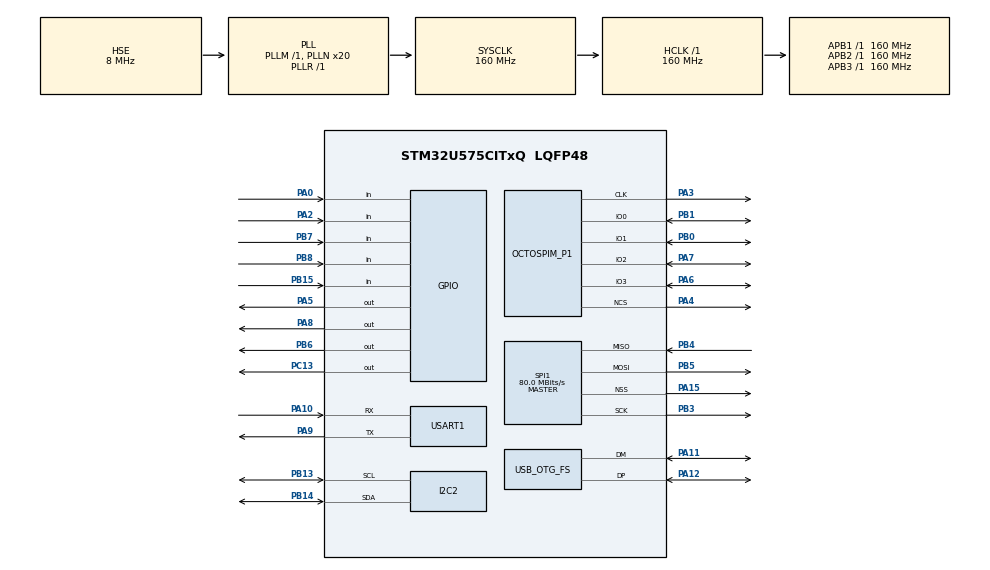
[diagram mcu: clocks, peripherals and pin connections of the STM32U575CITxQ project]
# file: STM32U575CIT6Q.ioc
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CORTEX_M33_NS.userName=CORTEX_M33
I2C2.Timing=0x30909DEC
Mcu.Family=STM32U5
Mcu.Name=STM32U575CITxQ
Mcu.Package=LQFP48
NVIC.OTG_FS_IRQn=true\:0\:0\:false\:false\:true\:true\:true\:true
NVIC.PriorityGroup=NVIC_PRIORITYGROUP_4
PA0.Signal=GPIO_Input
PA1.Signal=OCTOSPIM_P1_DQS
PA10.Mode=Asynchronous
PA10.Signal=USART1_RX
PA11.Mode=Device_Only
PA11.Signal=USB_OTG_FS_DM
PA12.Mode=Device_Only
PA12.Signal=USB_OTG_FS_DP
PA13\ (JTMS/SWDIO).Mode=Serial_Wire
PA13\ (JTMS/SWDIO).Signal=DEBUG_JTMS-SWDIO
PA14\ (JTCK/SWCLK).Mode=Serial_Wire
PA14\ (JTCK/SWCLK).Signal=DEBUG_JTCK-SWCLK
PA15\ (JTDI).Mode=NSS_Signal_Hard_Output
PA15\ (JTDI).Signal=SPI1_NSS
PA2.Signal=GPIO_Input
PA3.Mode=O1_P1_CLK
PA3.Signal=OCTOSPIM_P1_CLK
PA4.Mode=OCTOSPI1_Port1_NCS
PA4.Signal=OCTOSPIM_P1_NCS
PA5.Signal=GPIO_Output
PA6.Mode=OCTOSPI1_IOL_Port1L
PA6.Signal=OCTOSPIM_P1_IO3
PA7.Mode=OCTOSPI1_IOL_Port1L
PA7.Signal=OCTOSPIM_P1_IO2
PA8.Signal=GPIO_Output
PA9.Mode=Asynchronous
PA9.Signal=USART1_TX
PB0.Mode=OCTOSPI1_IOL_Port1L
PB0.Signal=OCTOSPIM_P1_IO1
PB1.Mode=OCTOSPI1_IOL_Port1L
PB1.Signal=OCTOSPIM_P1_IO0
PB13.Mode=I2C
PB13.Signal=I2C2_SCL
PB14.Mode=I2C
PB14.Signal=I2C2_SDA
PB15.Signal=GPIO_Input
PB3\ (JTDO/TRACESWO).Mode=Full_Duplex_Master
PB3\ (JTDO/TRACESWO).Signal=SPI1_SCK
PB4\ (NJTRST).Mode=Full_Duplex_Master
PB4\ (NJTRST).Signal=SPI1_MISO
PB5.Mode=Full_Duplex_Master
PB5.Signal=SPI1_MOSI
PB6.Signal=GPIO_Output
PB7.Signal=GPIO_Input
PB8.Signal=GPIO_Input
PC13.Signal=GPIO_Output
PH0-OSC_IN\ (PH0).Mode=HSE-External-Clock-Source
PH0-OSC_IN\ (PH0).Signal=RCC_OSC_IN
ProjectManager.HeapSize=0x200
ProjectManager.StackSize=0x400
ProjectManager.TargetToolchain=STM32CubeIDE
RCC.ADCFreq_Value=16000000
RCC.AHBFreq_Value=160000000
RCC.APB1Freq_Value=160000000
RCC.APB1TimFreq_Value=160000000
RCC.APB2Freq_Value=160000000
RCC.APB2TimFreq_Value=160000000
RCC.APB3Freq_Value=160000000
RCC.CK48CLockSelection=RCC_CLK48CLKSOURCE_PLL2
RCC.CortexFreq_Value=160000000
RCC.EPOD_VALUE=8000000
RCC.HCLKFreq_Value=160000000
RCC.HSE_VALUE=8000000
RCC.HSI48_VALUE=48000000
RCC.HSI_VALUE=16000000
RCC.LSE_VALUE=32768
RCC.LSIDIV_VALUE=32000
RCC.MSI_VALUE=4000000
RCC.PLL1R=1
RCC.PLL2FRACN=0
RCC.PLL2N=18
RCC.PLL2Q=3
RCC.PLL2Source=RCC_PLLSOURCE_HSE
RCC.PLLFRACN=0
RCC.PLLN=20
RCC.PLLSourceVirtual=RCC_PLLSOURCE_HSE
RCC.SYSCLKFreq_VALUE=160000000
RCC.SYSCLKSource=RCC_SYSCLKSOURCE_PLLCLK
RCC.USBFreq_Value=48000000
RCC.VCOOutputFreq_Value=160000000
SPI1.CalculateBaudRate=80.0 MBits/s
SPI1.Direction=SPI_DIRECTION_2LINES
SPI1.Mode=SPI_MODE_MASTER
SPI1.VirtualNSS=VM_NSSHARD
SPI1.VirtualType=VM_MASTER
USART1.VirtualMode-Asynchronous=VM_ASYNC
USB_OTG_FS.VirtualMode=Device_Only
VP_DCACHE1_VS_DCACHE.Mode=DCACHE_Activate
VP_ICACHE_VS_ICACHE.Mode=DirectMappedCache
VP_LPBAMQUEUE_VS_QUEUE.Mode=QUEUEMODE
VP_LPBAM_VS_SIG1.Mode=SmartRun
VP_LPBAM_VS_SIG4.Mode=LPDMA1
VP_MEMORYMAP_VS_MEMORYMAP.Mode=CurAppReg
VP_OCTOSPI1_VS_quad.Mode=quad_mode
VP_PWR_VS_SECSignals.Mode=Security/Privilege
board=custom

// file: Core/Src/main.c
/* USER CODE BEGIN Header */
/**
  ******************************************************************************
  * @file           : main.c
  * @brief          : Main program body
  ******************************************************************************
  * @attention
  *
  * Copyright (c) 2023 STMicroelectronics.
  * All rights reserved.
  *
  * This software is licensed under terms that can be found in the LICENSE file
  * in the root directory of this software component.
  * If no LICENSE file comes with this software, it is provided AS-IS.
  *
  ******************************************************************************
  */
/* USER CODE END Header */
#include "main.h"

#include "usbd_core.h"
#include "usbd_cdc_if.h"
#include "usbd_desc_cdc.h"

#include "VCP_UART.h"
#include "SYS_Config.h"
#include "MEM_Pool.h"

/* USER CODE BEGIN PD */
#define APP_RX_DATA_SIZE   2048
#define APP_TX_DATA_SIZE   2048

uint8_t UserRxBufferFS[APP_RX_DATA_SIZE];
uint8_t UserTxBufferFS[APP_TX_DATA_SIZE];

uint32_t UserTxBufPtrIn;
uint32_t UserTxBufPtrOut;

volatile int UARTRxAvailable = 0;

/* USER CODE END PD */

DCACHE_HandleTypeDef hdcache1;

I2C_HandleTypeDef hi2c2;

OSPI_HandleTypeDef hospi1;

SPI_HandleTypeDef hspi1;

UART_HandleTypeDef huart1;

extern PCD_HandleTypeDef  hpcd;
USBD_HandleTypeDef USBD_Device;

void SystemClock_Config(void);
static void MX_GPIO_Init(void);
static void MX_I2C2_Init(void);
void MX_OCTOSPI1_Init(void);
static void MX_SPI1_Init(void);
static void MX_USART1_UART_Init(void);
static void MX_DCACHE1_Init(void);
static void MX_ICACHE_Init(void);

/* USER CODE BEGIN 0 */
unsigned char UARTrxBuf[UART_RX_BUFFER_SIZE];

/* USER CODE END 0 */

int main(void)
{
  /* USER CODE BEGIN 1 */
#if 0
  uint32_t tick, lastTick;
  int state = 0;
  GPIO_InitTypeDef GPIO_InitStruct = {0};
#endif

  int l;

  /* USER CODE END 1 */

  /* MCU Configuration--------------------------------------------------------*/

  /* Reset of all peripherals, Initializes the Flash interface and the Systick. */
  HAL_Init();

  /* Configure the system clock */
  SystemClock_Config();

  /* USER CODE BEGIN SysInit */
  CFG_Read();
  /* USER CODE END SysInit */

  /* Initialize all configured peripherals */
  MX_GPIO_Init();
  MX_I2C2_Init();
  MX_OCTOSPI1_Init();
  MX_SPI1_Init();
#if 1
  /* XXXX: why is it necessary to get UART VCP working??? */
  MX_USART1_UART_Init();
#endif
  MX_DCACHE1_Init();
  MX_ICACHE_Init();
  /* USER CODE BEGIN 2 */
  MEM_PoolInit();
  HAL_PWREx_ControlVoltageScaling(PWR_REGULATOR_VOLTAGE_SCALE1);
#if 1
  HAL_PWREx_EnableVddIO2();
  if (HAL_PWREx_ConfigSupply(PWR_SMPS_SUPPLY) != HAL_OK)
  {
    Error_Handler();
  }
#endif
  /* USER CODE END 2 */

  /* Infinite loop */
  /* USER CODE BEGIN WHILE */
  /* Start reception: provide the buffer pointer with offset and the buffer size */
#if 0
  NVIC_SetPriority(USART1_IRQn, NVIC_EncodePriority(NVIC_GetPriorityGrouping(),5, 0));
  NVIC_EnableIRQ(USART1_IRQn);
  HAL_UART_Receive_IT(&huart1, (uint8_t *)(UserTxBufferFS + UserTxBufPtrIn), 1);
#endif

  /* initialize USB VCP for UART */
  USBD_Init(&USBD_Device, &CDC_Desc, 0);
  USBD_RegisterClass(&USBD_Device, USBD_CDC_CLASS);
  USBD_CDC_RegisterInterface(&USBD_Device, &USBD_CDC_fops);
  USBD_Start(&USBD_Device);

#if 0
  tick = HAL_GetTick();
  lastTick = tick;
#endif

  HAL_GPIO_TogglePin(GPIOC, GPIO_PIN_13);
  /* we cannot send here - we need at least one character received */
  while (1)
  {
    /* USER CODE END WHILE */

    /* USER CODE BEGIN 3 */
#if 1
	l = UART_getString(UARTrxBuf, sizeof(UARTrxBuf)  -1);
	if (l)
#endif
	{
		HAL_GPIO_TogglePin(GPIOC, GPIO_PIN_13);
#if 1
		CMD_DEC_execute((char *)UARTrxBuf, VCP_OUT);
		////UART_Send(UARTrxBuf, l, UART_OUT);
		UART_Send((unsigned char *)"> ", 2, VCP_OUT);
#else
		HAL_Delay(500);
#endif
	}
  }
  /* USER CODE END 3 */
}

#define U575
#ifdef U575
void SystemClock_Config(void)
{
  RCC_OscInitTypeDef RCC_OscInitStruct = {0};
  RCC_ClkInitTypeDef RCC_ClkInitStruct = {0};

  /** Configure the main internal regulator output voltage
  */
  if (HAL_PWREx_ControlVoltageScaling(PWR_REGULATOR_VOLTAGE_SCALE1) != HAL_OK)
  {
    Error_Handler();
  }

  /** Initializes the CPU, AHB and APB buses clocks
  */
  RCC_OscInitStruct.OscillatorType = RCC_OSCILLATORTYPE_HSE;
  RCC_OscInitStruct.HSEState = RCC_HSE_BYPASS;
  RCC_OscInitStruct.PLL.PLLState = RCC_PLL_ON;
  RCC_OscInitStruct.PLL.PLLSource = RCC_PLLSOURCE_HSE;
  RCC_OscInitStruct.PLL.PLLMBOOST = RCC_PLLMBOOST_DIV1;
  RCC_OscInitStruct.PLL.PLLM = 1;
  RCC_OscInitStruct.PLL.PLLN = 20;
  RCC_OscInitStruct.PLL.PLLP = 2;
  RCC_OscInitStruct.PLL.PLLQ = 2;
  RCC_OscInitStruct.PLL.PLLR = 1;
  RCC_OscInitStruct.PLL.PLLRGE = RCC_PLLVCIRANGE_1;
  RCC_OscInitStruct.PLL.PLLFRACN = 0;
  if (HAL_RCC_OscConfig(&RCC_OscInitStruct) != HAL_OK)
  {
    Error_Handler();
  }

  /** Initializes the CPU, AHB and APB buses clocks
  */
  RCC_ClkInitStruct.ClockType = RCC_CLOCKTYPE_HCLK|RCC_CLOCKTYPE_SYSCLK
                              |RCC_CLOCKTYPE_PCLK1|RCC_CLOCKTYPE_PCLK2
                              |RCC_CLOCKTYPE_PCLK3;
  RCC_ClkInitStruct.SYSCLKSource = RCC_SYSCLKSOURCE_PLLCLK;
  RCC_ClkInitStruct.AHBCLKDivider = RCC_SYSCLK_DIV1;
  RCC_ClkInitStruct.APB1CLKDivider = RCC_HCLK_DIV1;
  RCC_ClkInitStruct.APB2CLKDivider = RCC_HCLK_DIV1;
  RCC_ClkInitStruct.APB3CLKDivider = RCC_HCLK_DIV1;

  if (HAL_RCC_ClockConfig(&RCC_ClkInitStruct, FLASH_LATENCY_4) != HAL_OK)
  {
    Error_Handler();
  }
}

#else
void SystemClock_Config(void)
{
  RCC_OscInitTypeDef RCC_OscInitStruct = {0};
  RCC_ClkInitTypeDef RCC_ClkInitStruct = {0};

  /** Configure the main internal regulator output voltage
  */
  if (HAL_PWREx_ControlVoltageScaling(PWR_REGULATOR_VOLTAGE_SCALE1) != HAL_OK)
  {
    Error_Handler();
  }

  /** Initializes the CPU, AHB and APB buses clocks
  */
  RCC_OscInitStruct.OscillatorType = RCC_OSCILLATORTYPE_HSI|RCC_OSCILLATORTYPE_HSE;
  RCC_OscInitStruct.HSEState = RCC_HSE_ON;
  RCC_OscInitStruct.HSIState = RCC_HSI_ON;
  RCC_OscInitStruct.HSICalibrationValue = RCC_HSICALIBRATION_DEFAULT;
  RCC_OscInitStruct.PLL.PLLState = RCC_PLL_ON;
  RCC_OscInitStruct.PLL.PLLSource = RCC_PLLSOURCE_HSE;
  RCC_OscInitStruct.PLL.PLLMBOOST = RCC_PLLMBOOST_DIV1;
  RCC_OscInitStruct.PLL.PLLM = 1;
  RCC_OscInitStruct.PLL.PLLN = 20;
  RCC_OscInitStruct.PLL.PLLP = 8;
  RCC_OscInitStruct.PLL.PLLQ = 2;
  RCC_OscInitStruct.PLL.PLLR = 2;
  RCC_OscInitStruct.PLL.PLLRGE = RCC_PLLVCIRANGE_1;
  RCC_OscInitStruct.PLL.PLLFRACN = 0;
  if (HAL_RCC_OscConfig(&RCC_OscInitStruct) != HAL_OK)
  {
    Error_Handler();
  }

  /** Initializes the CPU, AHB and APB buses clocks
  */
  RCC_ClkInitStruct.ClockType = RCC_CLOCKTYPE_HCLK|RCC_CLOCKTYPE_SYSCLK
                              |RCC_CLOCKTYPE_PCLK1|RCC_CLOCKTYPE_PCLK2
                              |RCC_CLOCKTYPE_PCLK3;
  RCC_ClkInitStruct.SYSCLKSource = RCC_SYSCLKSOURCE_PLLCLK;
  RCC_ClkInitStruct.AHBCLKDivider = RCC_SYSCLK_DIV1;
  RCC_ClkInitStruct.APB1CLKDivider = RCC_HCLK_DIV1;
  RCC_ClkInitStruct.APB2CLKDivider = RCC_HCLK_DIV1;
  RCC_ClkInitStruct.APB3CLKDivider = RCC_HCLK_DIV1;

  if (HAL_RCC_ClockConfig(&RCC_ClkInitStruct, FLASH_LATENCY_4) != HAL_OK)
  {
    Error_Handler();
  }
}
#endif
static void MX_DCACHE1_Init(void)
{

  hdcache1.Instance = DCACHE1;
  hdcache1.Init.ReadBurstType = DCACHE_READ_BURST_WRAP;
  if (HAL_DCACHE_Init(&hdcache1) != HAL_OK)
  {
    Error_Handler();
  }

}

static void MX_I2C2_Init(void)
{

  hi2c2.Instance = I2C2;
  hi2c2.Init.Timing = 0x30909DEC;
  hi2c2.Init.OwnAddress1 = 0;
  hi2c2.Init.AddressingMode = I2C_ADDRESSINGMODE_7BIT;
  hi2c2.Init.DualAddressMode = I2C_DUALADDRESS_DISABLE;
  hi2c2.Init.OwnAddress2 = 0;
  hi2c2.Init.OwnAddress2Masks = I2C_OA2_NOMASK;
  hi2c2.Init.GeneralCallMode = I2C_GENERALCALL_DISABLE;
  hi2c2.Init.NoStretchMode = I2C_NOSTRETCH_DISABLE;
  if (HAL_I2C_Init(&hi2c2) != HAL_OK)
  {
    Error_Handler();
  }

  /** Configure Analogue filter
  */
  if (HAL_I2CEx_ConfigAnalogFilter(&hi2c2, I2C_ANALOGFILTER_ENABLE) != HAL_OK)
  {
    Error_Handler();
  }

  /** Configure Digital filter
  */
  if (HAL_I2CEx_ConfigDigitalFilter(&hi2c2, 0) != HAL_OK)
  {
    Error_Handler();
  }

}

static void MX_ICACHE_Init(void)
{

  /** Enable instruction cache in 1-way (direct mapped cache)
  */
  if (HAL_ICACHE_ConfigAssociativityMode(ICACHE_1WAY) != HAL_OK)
  {
    Error_Handler();
  }
  if (HAL_ICACHE_Enable() != HAL_OK)
  {
    Error_Handler();
  }

}

void MX_OCTOSPI1_Init(void)
{

  OSPIM_CfgTypeDef sOspiManagerCfg = {0};
  HAL_OSPI_DLYB_CfgTypeDef HAL_OSPI_DLYB_Cfg_Struct = {0};

  /* OCTOSPI1 parameter configuration*/
  hospi1.Instance = OCTOSPI1;
  hospi1.Init.FifoThreshold = 1;
  hospi1.Init.DualQuad = HAL_OSPI_DUALQUAD_DISABLE;
  hospi1.Init.MemoryType = HAL_OSPI_MEMTYPE_MICRON;
  hospi1.Init.DeviceSize = 32;
  hospi1.Init.ChipSelectHighTime = 1;
  hospi1.Init.FreeRunningClock = HAL_OSPI_FREERUNCLK_DISABLE;
  hospi1.Init.ClockMode = gCFGparams.QSPImode;	//HAL_OSPI_CLOCK_MODE_0;
  hospi1.Init.WrapSize = HAL_OSPI_WRAP_NOT_SUPPORTED;
  hospi1.Init.ClockPrescaler = gCFGparams.QSPIdiv;
  hospi1.Init.SampleShifting = HAL_OSPI_SAMPLE_SHIFTING_NONE;
  hospi1.Init.DelayHoldQuarterCycle = HAL_OSPI_DHQC_DISABLE;
  hospi1.Init.ChipSelectBoundary = 0;
  hospi1.Init.DelayBlockBypass = HAL_OSPI_DELAY_BLOCK_BYPASSED;
  hospi1.Init.MaxTran = 0;
  hospi1.Init.Refresh = 0;
  if (HAL_OSPI_Init(&hospi1) != HAL_OK)
  {
    Error_Handler();
  }
  sOspiManagerCfg.ClkPort = 1;
  sOspiManagerCfg.NCSPort = 1;
  sOspiManagerCfg.IOLowPort = HAL_OSPIM_IOPORT_1_LOW;
  if (HAL_OSPIM_Config(&hospi1, &sOspiManagerCfg, HAL_OSPI_TIMEOUT_DEFAULT_VALUE) != HAL_OK)
  {
    Error_Handler();
  }
  HAL_OSPI_DLYB_Cfg_Struct.Units = 0;
  HAL_OSPI_DLYB_Cfg_Struct.PhaseSel = 0;
  if (HAL_OSPI_DLYB_SetConfig(&hospi1, &HAL_OSPI_DLYB_Cfg_Struct) != HAL_OK)
  {
    Error_Handler();
  }

}

static void MX_SPI1_Init(void)
{

  SPI_AutonomousModeConfTypeDef HAL_SPI_AutonomousMode_Cfg_Struct = {0};

  /* SPI1 parameter configuration*/
  hspi1.Instance = SPI1;
  hspi1.Init.Mode = SPI_MODE_MASTER;
  hspi1.Init.Direction = SPI_DIRECTION_2LINES;
  hspi1.Init.DataSize = SPI_DATASIZE_4BIT;
  hspi1.Init.CLKPolarity = SPI_POLARITY_LOW;
  hspi1.Init.CLKPhase = SPI_PHASE_1EDGE;
  hspi1.Init.NSS = SPI_NSS_HARD_OUTPUT;
  hspi1.Init.BaudRatePrescaler = SPI_BAUDRATEPRESCALER_2;
  hspi1.Init.FirstBit = SPI_FIRSTBIT_MSB;
  hspi1.Init.TIMode = SPI_TIMODE_DISABLE;
  hspi1.Init.CRCCalculation = SPI_CRCCALCULATION_DISABLE;
  hspi1.Init.CRCPolynomial = 0x7;
  hspi1.Init.NSSPMode = SPI_NSS_PULSE_ENABLE;
  hspi1.Init.NSSPolarity = SPI_NSS_POLARITY_LOW;
  hspi1.Init.FifoThreshold = SPI_FIFO_THRESHOLD_01DATA;
  hspi1.Init.MasterSSIdleness = SPI_MASTER_SS_IDLENESS_00CYCLE;
  hspi1.Init.MasterInterDataIdleness = SPI_MASTER_INTERDATA_IDLENESS_00CYCLE;
  hspi1.Init.MasterReceiverAutoSusp = SPI_MASTER_RX_AUTOSUSP_DISABLE;
  hspi1.Init.MasterKeepIOState = SPI_MASTER_KEEP_IO_STATE_DISABLE;
  hspi1.Init.IOSwap = SPI_IO_SWAP_DISABLE;
  hspi1.Init.ReadyMasterManagement = SPI_RDY_MASTER_MANAGEMENT_INTERNALLY;
  hspi1.Init.ReadyPolarity = SPI_RDY_POLARITY_HIGH;
  if (HAL_SPI_Init(&hspi1) != HAL_OK)
  {
    Error_Handler();
  }
  HAL_SPI_AutonomousMode_Cfg_Struct.TriggerState = SPI_AUTO_MODE_DISABLE;
  HAL_SPI_AutonomousMode_Cfg_Struct.TriggerSelection = SPI_GRP1_GPDMA_CH0_TCF_TRG;
  HAL_SPI_AutonomousMode_Cfg_Struct.TriggerPolarity = SPI_TRIG_POLARITY_RISING;
  if (HAL_SPIEx_SetConfigAutonomousMode(&hspi1, &HAL_SPI_AutonomousMode_Cfg_Struct) != HAL_OK)
  {
    Error_Handler();
  }

}

static void MX_USART1_UART_Init(void)
{

  huart1.Instance = USART1;
  huart1.Init.BaudRate = 115200;
  huart1.Init.WordLength = UART_WORDLENGTH_8B;
  huart1.Init.StopBits = UART_STOPBITS_1;
  huart1.Init.Parity = UART_PARITY_NONE;
  huart1.Init.Mode = UART_MODE_TX_RX;
  huart1.Init.HwFlowCtl = UART_HWCONTROL_NONE;
  huart1.Init.OverSampling = UART_OVERSAMPLING_16;
  huart1.Init.OneBitSampling = UART_ONE_BIT_SAMPLE_DISABLE;
  huart1.Init.ClockPrescaler = UART_PRESCALER_DIV1;
  huart1.AdvancedInit.AdvFeatureInit = UART_ADVFEATURE_NO_INIT;
  if (HAL_UART_Init(&huart1) != HAL_OK)
  {
    Error_Handler();
  }
  if (HAL_UARTEx_SetTxFifoThreshold(&huart1, UART_TXFIFO_THRESHOLD_1_8) != HAL_OK)
  {
    Error_Handler();
  }
  if (HAL_UARTEx_SetRxFifoThreshold(&huart1, UART_RXFIFO_THRESHOLD_1_8) != HAL_OK)
  {
    Error_Handler();
  }
  if (HAL_UARTEx_DisableFifoMode(&huart1) != HAL_OK)
  {
    Error_Handler();
  }
}

static void MX_GPIO_Init(void)
{
  GPIO_InitTypeDef GPIO_InitStruct = {0};

  /* GPIO Ports Clock Enable */
  __HAL_RCC_GPIOC_CLK_ENABLE();
  __HAL_RCC_GPIOH_CLK_ENABLE();
  __HAL_RCC_GPIOA_CLK_ENABLE();
  __HAL_RCC_GPIOB_CLK_ENABLE();

  /*Configure GPIO pin Output Level */
  HAL_GPIO_WritePin(GPIOC, GPIO_PIN_13, GPIO_PIN_RESET);

  /*Configure GPIO pin Output Level */
  HAL_GPIO_WritePin(GPIOA, GPIO_PIN_5|GPIO_PIN_8, GPIO_PIN_RESET);

  /*Configure GPIO pin Output Level */
  HAL_GPIO_WritePin(GPIOB, GPIO_PIN_6, GPIO_PIN_RESET);

  /*Configure GPIO pin : PC13 */
  GPIO_InitStruct.Pin = GPIO_PIN_13;
  GPIO_InitStruct.Mode = GPIO_MODE_OUTPUT_PP;
  GPIO_InitStruct.Pull = GPIO_NOPULL;
  GPIO_InitStruct.Speed = GPIO_SPEED_FREQ_LOW;
  HAL_GPIO_Init(GPIOC, &GPIO_InitStruct);

  /*Configure GPIO pins : PA0 PA2 */
  GPIO_InitStruct.Pin = GPIO_PIN_0|GPIO_PIN_2;
  GPIO_InitStruct.Mode = GPIO_MODE_INPUT;
  GPIO_InitStruct.Pull = GPIO_NOPULL;
  HAL_GPIO_Init(GPIOA, &GPIO_InitStruct);

  /*Configure GPIO pin : PA1 */
  GPIO_InitStruct.Pin = GPIO_PIN_1;
  GPIO_InitStruct.Mode = GPIO_MODE_AF_PP;
  GPIO_InitStruct.Pull = GPIO_NOPULL;
  GPIO_InitStruct.Speed = GPIO_SPEED_FREQ_VERY_HIGH;
  GPIO_InitStruct.Alternate = GPIO_AF10_OCTOSPI1;
  HAL_GPIO_Init(GPIOA, &GPIO_InitStruct);

  /*Configure GPIO pins : PA5 PA8 */
  GPIO_InitStruct.Pin = GPIO_PIN_5|GPIO_PIN_8;
  GPIO_InitStruct.Mode = GPIO_MODE_OUTPUT_PP;
  GPIO_InitStruct.Pull = GPIO_NOPULL;
  GPIO_InitStruct.Speed = GPIO_SPEED_FREQ_LOW;
  HAL_GPIO_Init(GPIOA, &GPIO_InitStruct);

  /*Configure GPIO pins : PB15 PB7 PB8 */
  GPIO_InitStruct.Pin = GPIO_PIN_15|GPIO_PIN_7|GPIO_PIN_8;
  GPIO_InitStruct.Mode = GPIO_MODE_INPUT;
  GPIO_InitStruct.Pull = GPIO_NOPULL;
  HAL_GPIO_Init(GPIOB, &GPIO_InitStruct);

  /*Configure GPIO pin : PB6 */
  GPIO_InitStruct.Pin = GPIO_PIN_6;
  GPIO_InitStruct.Mode = GPIO_MODE_OUTPUT_PP;
  GPIO_InitStruct.Pull = GPIO_NOPULL;
  GPIO_InitStruct.Speed = GPIO_SPEED_FREQ_LOW;
  HAL_GPIO_Init(GPIOB, &GPIO_InitStruct);

}

/* USER CODE BEGIN 4 */
/**
  * @brief  Tx Transfer completed callback.
  * @param  huart UART handle.
  * @retval none
  */
void HAL_UART_TxCpltCallback(UART_HandleTypeDef *huart)
{

}

/**
  * @brief  Rx Transfer completed callback
  * @param  huart: UART handle
  * @retval none
  */
void HAL_UART_RxCpltCallback(UART_HandleTypeDef *huart)
{
  /* Increment the UserTxBufPtrIn pointer */
  UserTxBufPtrIn++;
  UARTRxAvailable = 1;

  /* Rollback the UserTxBufPtrIn if it equal to APP_TX_DATA_SIZE */
  if (UserTxBufPtrIn == APP_TX_DATA_SIZE)
  {
    UserTxBufPtrIn = 0;
  }

  /* Start another reception: provide th-e buffer pointer with offset and the buffer size */
  if (HAL_UART_Receive_IT(&huart1, (uint8_t *)UserTxBufferFS + UserTxBufPtrIn, 1) != HAL_OK)
  {
    /* Transfer error in reception process */
    Error_Handler();
  }
}

/**
  * @brief  UART error callbacks
            Transfer error occurred in reception and/or transmission process.
  * @param  UartHandle: UART handle
  * @retval none
  */
void HAL_UART_ErrorCallback(UART_HandleTypeDef *UartHandle)
{
  Error_Handler();
}

/* USER CODE END 4 */

void Error_Handler(void)
{
  __disable_irq();
  while (1)
  {
  }
}
